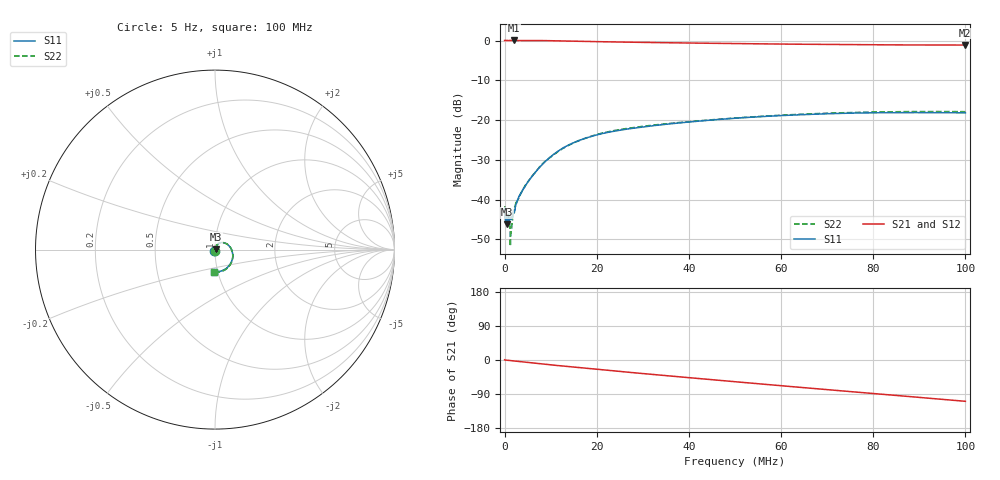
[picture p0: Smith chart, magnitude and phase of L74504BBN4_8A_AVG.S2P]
!Agilent Technologies,E5061B,MY49102235,A.02.00
!Date: Tue Jul 11 16:37:17 2023
!Data & Calibration Information:
!Freq	S11:SOLT2(ON)	S21:SOLT2(ON)	S12:SOLT2(ON)	S22:SOLT2(ON)
# Hz S RI R 50
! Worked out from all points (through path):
!   1600 points, 5 Hz to 100 MHz, reference 50 ohm
!   highest |S21| = 0.02 dB at 2.001 MHz (marker M1); lowest = -1.1 dB at 99.81 MHz (marker M2)
!   group delay of S21, straight-line fit = 2.98 ns
!   lowest |S11| = -46.2 dB at 500.3 kHz (marker M3), VSWR 1.01, Z = 50.5 + j0.17 ohm
!   |S11| at or under -10 dB: start of sweep to end of sweep
!   |S22| runs from -51.7 to -17.8 dB; largest |S21 - S12| = 0.0026
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5  -0.00525 -0.00563  1.002 0.00799  1 0.0102  -0.00152 -0.00756
500317.7  0.00463 0.00168  1.001 -0.00987  1.002 -0.00975  0.00485 9.07e-05
938091.3  0.00448 0.00361  1.001 -0.0191  1.001 -0.0186  0.00604 0.00303
1250787  0.00461 0.00325  1 -0.0253  1.001 -0.0255  0.0022 0.00139
1688560  0.0042 0.0045  1 -0.0363  1.001 -0.0365  0.00392 0.00367
2001256  0.0035 0.00577  1.001 -0.0435  1.001 -0.0433  0.00365 0.00603
2251412  0.00381 0.00628  0.9999 -0.0496  0.9999 -0.0484  0.00426 0.00705
2626647  0.00487 0.00782  0.9988 -0.0572  0.9982 -0.0572  0.00424 0.00815
3126959  0.00542 0.00956  0.9984 -0.0681  0.9982 -0.0679  0.00429 0.00976
4002506  0.00583 0.0122  0.9969 -0.087  0.9968 -0.0868  0.00502 0.0126
5878679  0.00721 0.0179  0.9922 -0.1286  0.992 -0.1284  0.00669 0.0181
7879930  0.0101 0.0246  0.9839 -0.1732  0.9837 -0.1731  0.0098 0.0252
9881180  0.0154 0.0304  0.9722 -0.2168  0.9718 -0.2166  0.0145 0.0306
1.219513e7  0.0234 0.0358  0.9543 -0.2647  0.9539 -0.2643  0.0223 0.0361
1.669794e7  0.0412 0.0392  0.9127 -0.3487  0.9126 -0.3485  0.0408 0.0394
2.332708e7  0.0639 0.0328  0.8456 -0.4573  0.8454 -0.4571  0.0656 0.032
3.333334e7  0.0857 0.0113  0.7279 -0.5977  0.7278 -0.5975  0.0871 0.0106
5.003127e7  0.099 -0.0366  0.4949 -0.7715  0.4949 -0.7713  0.0996 -0.0371
6.672921e7  0.0807 -0.0863  0.2344 -0.8644  0.2346 -0.8643  0.0829 -0.0869
8.33646e7  0.0403 -0.1173  -0.0289 -0.882  -0.0289 -0.882  0.0418 -0.1201
9.981238e7  -0.00686 -0.1232  -0.2832 -0.831  -0.2832 -0.8312  -0.0064 -0.1272
1e8  -0.0075 -0.1232  -0.2863 -0.8302  -0.2861 -0.8302  -0.00694 -0.1274
